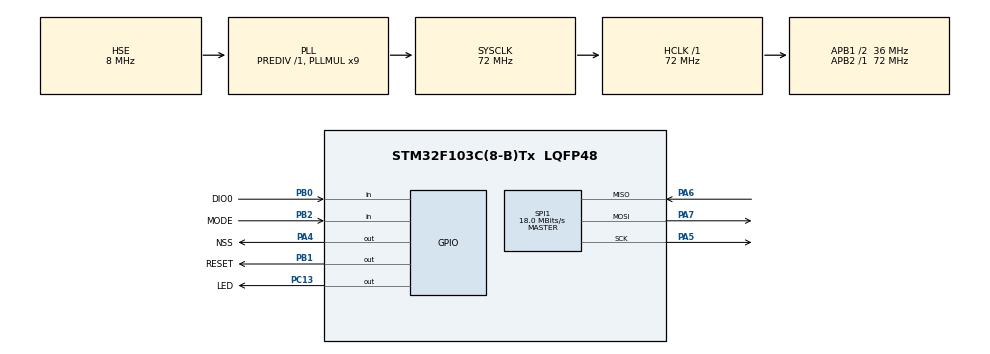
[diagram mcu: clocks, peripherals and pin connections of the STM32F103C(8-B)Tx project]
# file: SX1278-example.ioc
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Mcu.Family=STM32F1
Mcu.Name=STM32F103C(8-B)Tx
Mcu.Package=LQFP48
NVIC.PriorityGroup=NVIC_PRIORITYGROUP_4
PA13.Mode=Trace_Asynchronous_SW
PA13.Signal=SYS_JTMS-SWDIO
PA14.Mode=Trace_Asynchronous_SW
PA14.Signal=SYS_JTCK-SWCLK
PA4.GPIO_Label=NSS
PA4.PinState=GPIO_PIN_SET
PA4.Signal=GPIO_Output
PA5.Mode=Full_Duplex_Master
PA5.Signal=SPI1_SCK
PA6.Mode=Full_Duplex_Master
PA6.Signal=SPI1_MISO
PA7.Mode=Full_Duplex_Master
PA7.Signal=SPI1_MOSI
PB0.GPIO_Label=DIO0
PB0.Signal=GPIO_Input
PB1.GPIO_Label=RESET
PB1.PinState=GPIO_PIN_SET
PB1.Signal=GPIO_Output
PB2.GPIO_Label=MODE
PB2.GPIO_PuPd=GPIO_NOPULL
PB2.Signal=GPIO_Input
PB3.Mode=Trace_Asynchronous_SW
PB3.Signal=SYS_JTDO-TRACESWO
PC13-TAMPER-RTC.GPIO_Label=LED
PC13-TAMPER-RTC.PinState=GPIO_PIN_SET
PC13-TAMPER-RTC.Signal=GPIO_Output
PD0-OSC_IN.Mode=HSE-External-Oscillator
PD0-OSC_IN.Signal=RCC_OSC_IN
PD1-OSC_OUT.Mode=HSE-External-Oscillator
PD1-OSC_OUT.Signal=RCC_OSC_OUT
ProjectManager.HeapSize=0x200
ProjectManager.StackSize=0x400
ProjectManager.TargetToolchain=MDK-ARM V5.27
RCC.AHBFreq_Value=72000000
RCC.APB1CLKDivider=RCC_HCLK_DIV2
RCC.APB1Freq_Value=36000000
RCC.APB1TimFreq_Value=72000000
RCC.APB2Freq_Value=72000000
RCC.APB2TimFreq_Value=72000000
RCC.HCLKFreq_Value=72000000
RCC.PLLMUL=RCC_PLL_MUL9
RCC.PLLSourceVirtual=RCC_PLLSOURCE_HSE
RCC.SYSCLKFreq_VALUE=72000000
RCC.SYSCLKSource=RCC_SYSCLKSOURCE_PLLCLK
RCC.USBFreq_Value=72000000
SPI1.BaudRatePrescaler=SPI_BAUDRATEPRESCALER_4
SPI1.CalculateBaudRate=18.0 MBits/s
SPI1.Direction=SPI_DIRECTION_2LINES
SPI1.Mode=SPI_MODE_MASTER
SPI1.VirtualType=VM_MASTER
board=SX1278-example

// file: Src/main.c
/* USER CODE BEGIN Header */
/**
  ******************************************************************************
  * @file           : main.c
  * @brief          : Main program body
  ******************************************************************************
  * @attention
  *
  * <h2><center>&copy; Copyright (c) 2020 STMicroelectronics.
  * All rights reserved.</center></h2>
  *
  * This software component is licensed by ST under BSD 3-Clause license,
  * the "License"; You may not use this file except in compliance with the
  * License. You may obtain a copy of the License at:
  *                        opensource.org/licenses/BSD-3-Clause
  *
  ******************************************************************************
  */
/* USER CODE END Header */
#include "main.h"

/* USER CODE BEGIN Includes */

#include <stdio.h>
#include "SX1278.h"

/* USER CODE END Includes */

SPI_HandleTypeDef hspi1;

/* USER CODE BEGIN PV */
/* Private variables ---------------------------------------------------------*/

/* USER CODE END PV */

void SystemClock_Config(void);
static void MX_GPIO_Init(void);
static void MX_SPI1_Init(void);
/* USER CODE BEGIN PFP */
/* Private function prototypes -----------------------------------------------*/

int _write(int file, char *ptr, int len) {
	int i;
	for (i = 0; i < len; i++) {
		ITM_SendChar(*ptr++);
	}
	return len;
}

/* USER CODE END PFP */

/* USER CODE BEGIN 0 */

SX1278_hw_t SX1278_hw;
SX1278_t SX1278;

int master;
int ret;

char buffer[64];

int message;
int message_length;

/* USER CODE END 0 */

#include <stdio.h>

#define ITM_Port8(n)    (*((volatile unsigned char *)(0xE0000000+4*n)))
#define ITM_Port16(n)   (*((volatile unsigned short*)(0xE0000000+4*n)))
#define ITM_Port32(n)   (*((volatile unsigned long *)(0xE0000000+4*n)))

#define DEMCR           (*((volatile unsigned long *)(0xE000EDFC)))
#define TRCENA          0x01000000

struct __FILE { int handle; /* Add whatever you need here */ };
FILE __stdout;
FILE __stdin;

int fputc(int ch, FILE *f) {
  if (DEMCR & TRCENA) {
    while (ITM_Port32(0) == 0);
    ITM_Port8(0) = ch;
  }
  return(ch);
}

int main(void)
{

  /* MCU Configuration--------------------------------------------------------*/

  /* Reset of all peripherals, Initializes the Flash interface and the Systick. */
  HAL_Init();

  /* Configure the system clock */
  SystemClock_Config();

  /* Initialize all configured peripherals */
  MX_GPIO_Init();
  MX_SPI1_Init();
  /* USER CODE BEGIN 2 */
	master = HAL_GPIO_ReadPin(MODE_GPIO_Port, MODE_Pin);
	if (master == 1) {
		printf("Mode: Master\r\n");
		HAL_GPIO_WritePin(MODE_GPIO_Port, MODE_Pin, GPIO_PIN_RESET);
	} else {
		printf("Mode: Slave\r\n");
		HAL_GPIO_WritePin(MODE_GPIO_Port, MODE_Pin, GPIO_PIN_SET);
	}

	//initialize LoRa module
	SX1278_hw.dio0.port = DIO0_GPIO_Port;
	SX1278_hw.dio0.pin = DIO0_Pin;
	SX1278_hw.nss.port = NSS_GPIO_Port;
	SX1278_hw.nss.pin = NSS_Pin;
	SX1278_hw.reset.port = RESET_GPIO_Port;
	SX1278_hw.reset.pin = RESET_Pin;
	SX1278_hw.spi = &hspi1;

	SX1278.hw = &SX1278_hw;

	printf("Configuring LoRa module\r\n");
	SX1278_begin(&SX1278, SX1278_433MHZ, SX1278_POWER_17DBM, SX1278_LORA_SF_8,
			SX1278_LORA_BW_20_8KHZ, 10);
	printf("Done configuring LoRaModule\r\n");

	if (master == 1) {
		ret = SX1278_LoRaEntryTx(&SX1278, 16, 2000);
	} else {
		ret = SX1278_LoRaEntryRx(&SX1278, 16, 2000);
	}

  /* USER CODE END 2 */

  /* Infinite loop */
  /* USER CODE BEGIN WHILE */
  while (1)
  {
		if (master == 1) {
			printf("Master ...\r\n");
			HAL_Delay(2500);
			printf("Sending package...\r\n");

			message_length = sprintf(buffer, "Hello %d", message);
			ret = SX1278_LoRaEntryTx(&SX1278, message_length, 2000);
			printf("Entry: %d\r\n", ret);

			printf("Sending %s\r\n", buffer);
			ret = SX1278_LoRaTxPacket(&SX1278, (uint8_t *) buffer, message_length,
					2000);
			message += 1;

			printf("Transmission: %d\r\n", ret);
			printf("Package sent...\r\n");

		} else {
			printf("Slave ...\r\n");
			HAL_Delay(1000);
			printf("Receiving package...\r\n");

			ret = SX1278_LoRaRxPacket(&SX1278);
			printf("Received: %d\r\n", ret);
			if (ret > 0) {
				SX1278_read(&SX1278, (uint8_t *) buffer, ret);
				printf("Content (%d): %s\r\n", ret, buffer);
			}
			printf("Package received ...\r\n");

		}
    /* USER CODE END WHILE */

  }
}

void SystemClock_Config(void)
{
  RCC_OscInitTypeDef RCC_OscInitStruct = {0};
  RCC_ClkInitTypeDef RCC_ClkInitStruct = {0};

  /** Initializes the RCC Oscillators according to the specified parameters
  * in the RCC_OscInitTypeDef structure.
  */
  RCC_OscInitStruct.OscillatorType = RCC_OSCILLATORTYPE_HSE;
  RCC_OscInitStruct.HSEState = RCC_HSE_ON;
  RCC_OscInitStruct.HSEPredivValue = RCC_HSE_PREDIV_DIV1;
  RCC_OscInitStruct.HSIState = RCC_HSI_ON;
  RCC_OscInitStruct.PLL.PLLState = RCC_PLL_ON;
  RCC_OscInitStruct.PLL.PLLSource = RCC_PLLSOURCE_HSE;
  RCC_OscInitStruct.PLL.PLLMUL = RCC_PLL_MUL9;
  if (HAL_RCC_OscConfig(&RCC_OscInitStruct) != HAL_OK)
  {
    Error_Handler();
  }
  /** Initializes the CPU, AHB and APB buses clocks
  */
  RCC_ClkInitStruct.ClockType = RCC_CLOCKTYPE_HCLK|RCC_CLOCKTYPE_SYSCLK
                              |RCC_CLOCKTYPE_PCLK1|RCC_CLOCKTYPE_PCLK2;
  RCC_ClkInitStruct.SYSCLKSource = RCC_SYSCLKSOURCE_PLLCLK;
  RCC_ClkInitStruct.AHBCLKDivider = RCC_SYSCLK_DIV1;
  RCC_ClkInitStruct.APB1CLKDivider = RCC_HCLK_DIV2;
  RCC_ClkInitStruct.APB2CLKDivider = RCC_HCLK_DIV1;

  if (HAL_RCC_ClockConfig(&RCC_ClkInitStruct, FLASH_LATENCY_2) != HAL_OK)
  {
    Error_Handler();
  }
}

static void MX_SPI1_Init(void)
{

  /* SPI1 parameter configuration*/
  hspi1.Instance = SPI1;
  hspi1.Init.Mode = SPI_MODE_MASTER;
  hspi1.Init.Direction = SPI_DIRECTION_2LINES;
  hspi1.Init.DataSize = SPI_DATASIZE_8BIT;
  hspi1.Init.CLKPolarity = SPI_POLARITY_LOW;
  hspi1.Init.CLKPhase = SPI_PHASE_1EDGE;
  hspi1.Init.NSS = SPI_NSS_SOFT;
  hspi1.Init.BaudRatePrescaler = SPI_BAUDRATEPRESCALER_4;
  hspi1.Init.FirstBit = SPI_FIRSTBIT_MSB;
  hspi1.Init.TIMode = SPI_TIMODE_DISABLE;
  hspi1.Init.CRCCalculation = SPI_CRCCALCULATION_DISABLE;
  hspi1.Init.CRCPolynomial = 10;
  if (HAL_SPI_Init(&hspi1) != HAL_OK)
  {
    Error_Handler();
  }

}

static void MX_GPIO_Init(void)
{
  GPIO_InitTypeDef GPIO_InitStruct = {0};

  /* GPIO Ports Clock Enable */
  __HAL_RCC_GPIOC_CLK_ENABLE();
  __HAL_RCC_GPIOD_CLK_ENABLE();
  __HAL_RCC_GPIOA_CLK_ENABLE();
  __HAL_RCC_GPIOB_CLK_ENABLE();

  /*Configure GPIO pin Output Level */
  HAL_GPIO_WritePin(LED_GPIO_Port, LED_Pin, GPIO_PIN_SET);

  /*Configure GPIO pin Output Level */
  HAL_GPIO_WritePin(NSS_GPIO_Port, NSS_Pin, GPIO_PIN_SET);

  /*Configure GPIO pin Output Level */
  HAL_GPIO_WritePin(RESET_GPIO_Port, RESET_Pin, GPIO_PIN_SET);

  /*Configure GPIO pin : LED_Pin */
  GPIO_InitStruct.Pin = LED_Pin;
  GPIO_InitStruct.Mode = GPIO_MODE_OUTPUT_PP;
  GPIO_InitStruct.Pull = GPIO_NOPULL;
  GPIO_InitStruct.Speed = GPIO_SPEED_FREQ_LOW;
  HAL_GPIO_Init(LED_GPIO_Port, &GPIO_InitStruct);

  /*Configure GPIO pin : NSS_Pin */
  GPIO_InitStruct.Pin = NSS_Pin;
  GPIO_InitStruct.Mode = GPIO_MODE_OUTPUT_PP;
  GPIO_InitStruct.Pull = GPIO_NOPULL;
  GPIO_InitStruct.Speed = GPIO_SPEED_FREQ_LOW;
  HAL_GPIO_Init(NSS_GPIO_Port, &GPIO_InitStruct);

  /*Configure GPIO pins : DIO0_Pin MODE_Pin */
  GPIO_InitStruct.Pin = DIO0_Pin|MODE_Pin;
  GPIO_InitStruct.Mode = GPIO_MODE_INPUT;
  GPIO_InitStruct.Pull = GPIO_NOPULL;
  HAL_GPIO_Init(GPIOB, &GPIO_InitStruct);

  /*Configure GPIO pin : RESET_Pin */
  GPIO_InitStruct.Pin = RESET_Pin;
  GPIO_InitStruct.Mode = GPIO_MODE_OUTPUT_PP;
  GPIO_InitStruct.Pull = GPIO_NOPULL;
  GPIO_InitStruct.Speed = GPIO_SPEED_FREQ_LOW;
  HAL_GPIO_Init(RESET_GPIO_Port, &GPIO_InitStruct);

}

void Error_Handler(void)
{
  while(1)
  {
  }
}

/************************ (C) COPYRIGHT STMicroelectronics *****END OF FILE****/
